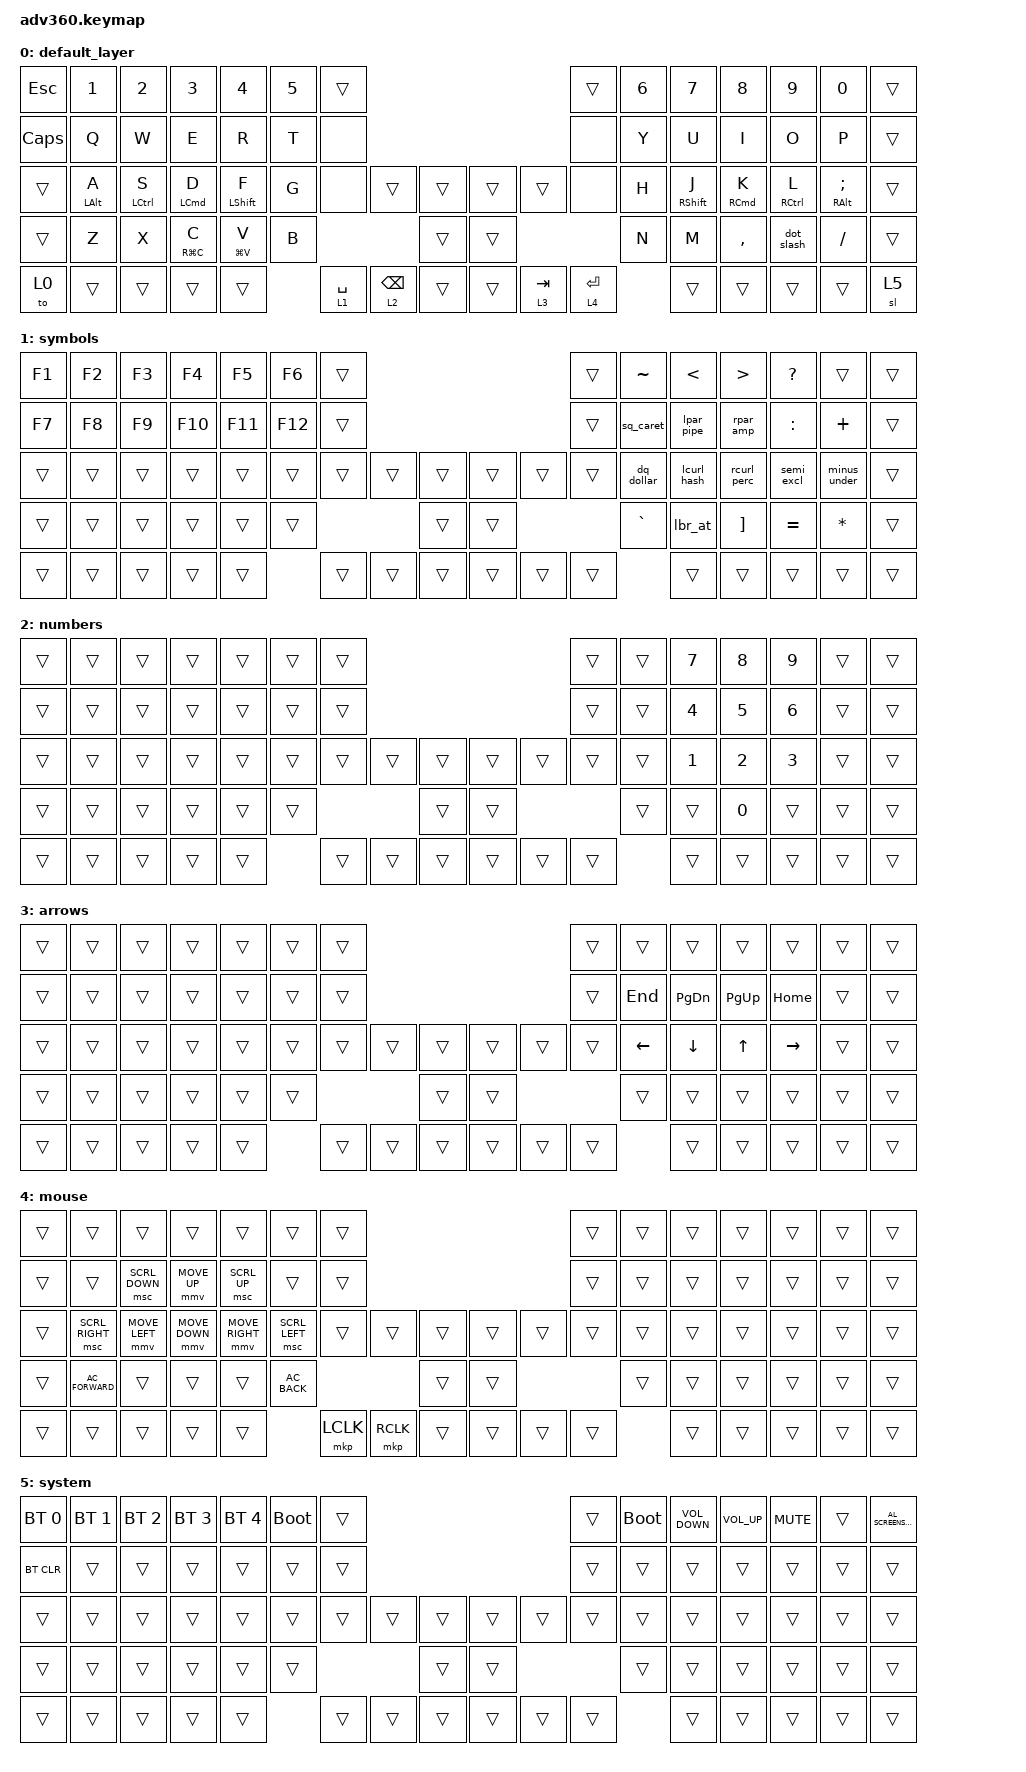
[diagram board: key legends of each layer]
#include <dt-bindings/zmk/mouse.h>

#define ZMK_POINTING_DEFAULT_MOVE_VAL 2000  // default: 600
#define ZMK_POINTING_DEFAULT_SCRL_VAL 25    // default: 10

#include <behaviors.dtsi>
#include <dt-bindings/zmk/bt.h>
#include <dt-bindings/zmk/keys.h>
#include <dt-bindings/zmk/pointing.h>
#include <dt-bindings/zmk/pointing.h>
#include <dt-bindings/zmk/pointing.h>

/ {
    behaviors {
        #include "macros.dtsi"
      #include "version.dtsi"
      #ifndef VERSION_MACRO

        macro_ver: macro_ver {
            compatible = "zmk,behavior-macro";
            label = "macro_version";
            #binding-cells = <0>;
            bindings = <&kp RET>;
        };

        #endif

        hm: homerow_mods {
            compatible = "zmk,behavior-hold-tap";
            label = "HOMEROW_MODS";
            #binding-cells = <2>;
            tapping-term-ms = <200>;
            quick_tap_ms = <175>;
            flavor = "tap-preferred";
            bindings = <&kp>, <&kp>;
        };

        dot_slash: dot_slash {
            compatible = "zmk,behavior-tap-dance";
            label = "DOT_SLASH";
            #binding-cells = <0>;
            bindings = <&kp DOT>, <&kp BACKSLASH>;
        };

        kp_mo: kp_mo {
            compatible = "zmk,behavior-hold-tap";
            label = "KP_MO";
            bindings = <&mo>, <&kp>;

            #binding-cells = <2>;
            tapping-term-ms = <200>;
            flavor = "tap-preferred";
        };

        sq_caret: sq_caret {
            compatible = "zmk,behavior-tap-dance";
            label = "SQ_CARET";
            #binding-cells = <0>;
            bindings = <&kp SINGLE_QUOTE>, <&kp CARET>;
        };

        dq_dollar: dq_dollar {
            compatible = "zmk,behavior-tap-dance";
            label = "DQ_DOLLAR";
            #binding-cells = <0>;
            bindings = <&kp DOUBLE_QUOTES>, <&kp DOLLAR>;
        };

        lpar_pipe: lpar_pipe {
            compatible = "zmk,behavior-tap-dance";
            label = "LPAR_PIPE";
            #binding-cells = <0>;
            bindings = <&kp LEFT_PARENTHESIS>, <&kp PIPE>;
        };

        rpar_amp: rpar_amp {
            compatible = "zmk,behavior-tap-dance";
            label = "RPAR_AMP";
            #binding-cells = <0>;
            bindings = <&kp RIGHT_PARENTHESIS>, <&kp AMPERSAND>;
        };

        lcurl_hash: lcurl_hash {
            compatible = "zmk,behavior-tap-dance";
            label = "LCURL_HASH";
            #binding-cells = <0>;
            bindings = <&kp LEFT_BRACE>, <&kp HASH>;
        };

        rcurl_perc: rcurl_perc {
            compatible = "zmk,behavior-tap-dance";
            label = "RCURL_PERC";
            #binding-cells = <0>;
            bindings = <&kp RIGHT_BRACE>, <&kp PERCENT>;
        };

        lbr_at: lbr_at {
            compatible = "zmk,behavior-tap-dance";
            label = "LBR_AT";
            #binding-cells = <0>;
            bindings = <&kp LEFT_BRACKET>, <&kp AT>;
        };

        semi_excl: semi_excl {
            compatible = "zmk,behavior-tap-dance";
            label = "SEMI_EXCL";
            #binding-cells = <0>;
            bindings = <&kp SEMICOLON>, <&kp EXCLAMATION>;
        };

        minus_under: minus_under {
            compatible = "zmk,behavior-tap-dance";
            label = "MINUS_UNDER";
            #binding-cells = <0>;
            bindings = <&kp MINUS>, <&kp UNDERSCORE>;
        };
    };

    macros {
    };

    combos {
        compatible = "zmk,combos";

        symbols {
            bindings = <&to 1>;
            key-positions = <51 65>;
        };

        numbers {
            bindings = <&to 2>;
            key-positions = <64 66>;
        };

        arrows {
            bindings = <&to 3>;
            key-positions = <54 69>;
        };

        mouse {
            bindings = <&to 4>;
            key-positions = <54 70>;
        };
    };

    keymap {
        compatible = "zmk,keymap";

        default_layer {
            bindings = <
&kp ESC       &kp N1          &kp N2              &kp N3              &kp N4            &kp N5  &trans                                                                &trans          &kp N6  &kp N7             &kp N8               &kp N9               &kp N0              &trans
&kp CAPSLOCK  &kp Q           &kp W               &kp E               &kp R             &kp T   &none                                                                 &none           &kp Y   &kp U              &kp I                &kp O                &kp P               &trans
&trans        &hm LEFT_ALT A  &hm LEFT_CONTROL S  &hm LEFT_COMMAND D  &hm LEFT_SHIFT F  &kp G   &none           &trans              &trans      &trans  &trans        &none           &kp H   &hm RIGHT_SHIFT J  &hm RIGHT_COMMAND K  &hm RIGHT_CONTROL L  &hm RIGHT_ALT SEMI  &trans
&trans        &kp Z           &kp X               &hm RG(C) C         &hm LG(V) V       &kp B                                       &trans      &trans                                &kp N   &kp M              &kp COMMA            &dot_slash           &kp FSLH            &trans
&to 0         &trans          &trans              &trans              &trans                    &kp_mo 1 SPACE  &kp_mo 2 BACKSPACE  &trans      &trans  &kp_mo 3 TAB  &kp_mo 4 ENTER          &trans             &trans               &trans               &trans              &sl 5
            >;
        };

        symbols {
            bindings = <
&kp F1  &kp F2  &kp F3  &kp F4   &kp F5   &kp F6   &trans                                      &trans  &kp TILDE   &kp LESS_THAN  &kp GREATER_THAN   &kp QUESTION  &trans        &trans
&kp F7  &kp F8  &kp F9  &kp F10  &kp F11  &kp F12  &trans                                      &trans  &sq_caret   &lpar_pipe     &rpar_amp          &kp COLON     &kp PLUS      &trans
&trans  &trans  &trans  &trans   &trans   &trans   &trans  &trans  &trans      &trans  &trans  &trans  &dq_dollar  &lcurl_hash    &rcurl_perc        &semi_excl    &minus_under  &trans
&trans  &trans  &trans  &trans   &trans   &trans                   &trans      &trans                  &kp GRAVE   &lbr_at        &kp RIGHT_BRACKET  &kp EQUAL     &kp ASTERISK  &trans
&trans  &trans  &trans  &trans   &trans            &trans  &trans  &trans      &trans  &trans  &trans              &trans         &trans             &trans        &trans        &trans
            >;
        };

        numbers {
            bindings = <
&trans  &trans  &trans  &trans  &trans  &trans  &trans                                      &trans  &trans  &kp N7  &kp N8  &kp N9  &trans  &trans
&trans  &trans  &trans  &trans  &trans  &trans  &trans                                      &trans  &trans  &kp N4  &kp N5  &kp N6  &trans  &trans
&trans  &trans  &trans  &trans  &trans  &trans  &trans  &trans  &trans      &trans  &trans  &trans  &trans  &kp N1  &kp N2  &kp N3  &trans  &trans
&trans  &trans  &trans  &trans  &trans  &trans                  &trans      &trans                  &trans  &trans  &kp N0  &trans  &trans  &trans
&trans  &trans  &trans  &trans  &trans          &trans  &trans  &trans      &trans  &trans  &trans          &trans  &trans  &trans  &trans  &trans
            >;
        };

        arrows {
            bindings = <
&trans  &trans  &trans  &trans  &trans  &trans  &trans                                      &trans  &trans          &trans          &trans        &trans           &trans  &trans
&trans  &trans  &trans  &trans  &trans  &trans  &trans                                      &trans  &kp END         &kp PAGE_DOWN   &kp PAGE_UP   &kp HOME         &trans  &trans
&trans  &trans  &trans  &trans  &trans  &trans  &trans  &trans  &trans      &trans  &trans  &trans  &kp LEFT_ARROW  &kp DOWN_ARROW  &kp UP_ARROW  &kp RIGHT_ARROW  &trans  &trans
&trans  &trans  &trans  &trans  &trans  &trans                  &trans      &trans                  &trans          &trans          &trans        &trans           &trans  &trans
&trans  &trans  &trans  &trans  &trans          &trans  &trans  &trans      &trans  &trans  &trans                  &trans          &trans        &trans           &trans  &trans
            >;
        };

        mouse {
            bindings = <
&trans  &trans            &trans          &trans          &trans           &trans          &trans                                            &trans  &trans  &trans  &trans  &trans  &trans  &trans
&trans  &trans            &msc SCRL_DOWN  &mmv MOVE_UP    &msc SCRL_UP     &trans          &trans                                            &trans  &trans  &trans  &trans  &trans  &trans  &trans
&trans  &msc SCRL_RIGHT   &mmv MOVE_LEFT  &mmv MOVE_DOWN  &mmv MOVE_RIGHT  &msc SCRL_LEFT  &trans     &trans     &trans      &trans  &trans  &trans  &trans  &trans  &trans  &trans  &trans  &trans
&trans  &kp C_AC_FORWARD  &trans          &trans          &trans           &kp C_AC_BACK                         &trans      &trans                  &trans  &trans  &trans  &trans  &trans  &trans
&trans  &trans            &trans          &trans          &trans                           &mkp LCLK  &mkp RCLK  &trans      &trans  &trans  &trans          &trans  &trans  &trans  &trans  &trans
            >;
        };

        system {
            bindings = <
&bt BT_SEL 0  &bt BT_SEL 1  &bt BT_SEL 2  &bt BT_SEL 3  &bt BT_SEL 4  &bootloader  &trans                                      &trans  &bootloader  &kp C_VOLUME_DOWN  &kp C_VOLUME_UP  &kp C_MUTE  &trans  &kp C_AL_SCREENSAVER
&bt BT_CLR    &trans        &trans        &trans        &trans        &trans       &trans                                      &trans  &trans       &trans             &trans           &trans      &trans  &trans
&trans        &trans        &trans        &trans        &trans        &trans       &trans  &trans  &trans      &trans  &trans  &trans  &trans       &trans             &trans           &trans      &trans  &trans
&trans        &trans        &trans        &trans        &trans        &trans                       &trans      &trans                  &trans       &trans             &trans           &trans      &trans  &trans
&trans        &trans        &trans        &trans        &trans                     &trans  &trans  &trans      &trans  &trans  &trans               &trans             &trans           &trans      &trans  &trans
            >;
        };
    };
};
